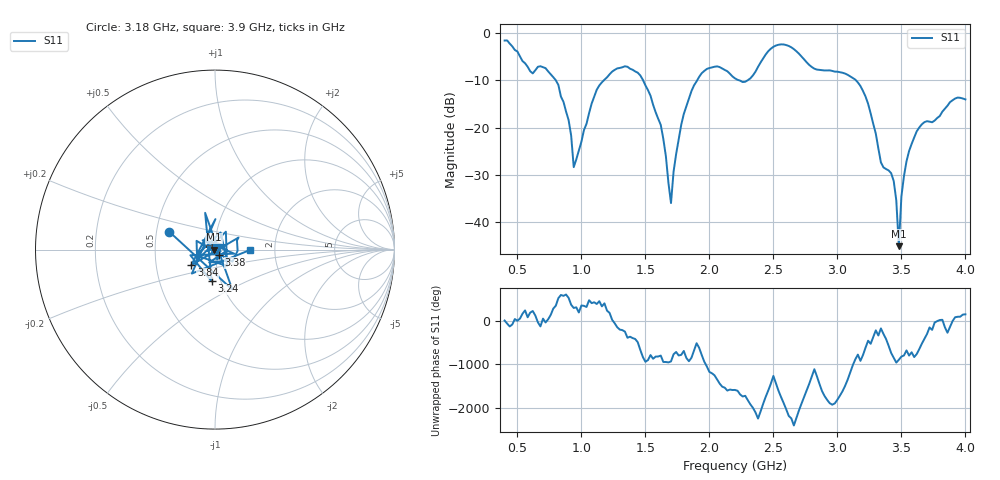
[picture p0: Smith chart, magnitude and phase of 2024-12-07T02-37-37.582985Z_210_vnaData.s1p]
!Created with skrf (http://scikit-rf.org).
# Hz S RI R 50.0
!freq ReS11 ImS11
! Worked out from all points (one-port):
!   181 points, 400 MHz to 4 GHz, reference 50 ohm
!   lowest |S11| = -45.0 dB at 3.48 GHz (marker M1), VSWR 1.01, Z = 49.4 - j0.0286 ohm
!   |S11| at or under -10 dB: 799.1 MHz to 1.177 GHz (378 MHz wide, 38.3 % of centre); 1.481 GHz to 1.905 GHz (424.1 MHz wide, 25 % of centre); 3.144 GHz to end of sweep (the widest 3 of 4)
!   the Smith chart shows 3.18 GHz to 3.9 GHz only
!   S11 on the Smith chart (normalised r, x): 3.18 GHz: 0.58, +0.13; 3.24 GHz: 0.91, -0.33; 3.38 GHz: 1.04, -0.06; 3.84 GHz: 0.76, -0.13; 3.9 GHz: 1.48, -0.01
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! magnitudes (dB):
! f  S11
! 400 MHz  -1.6
! 620 MHz  -8.6
! 720 MHz  -7.5
! 860 MHz  -14.6
! 920 MHz  -21.7
! 940 MHz  -28.4
! 1.12 GHz  -12.0
! 1.3 GHz  -7.4
! 1.54 GHz  -13.3
! 1.62 GHz  -19.4
! 1.7 GHz  -35.9
! 1.76 GHz  -22.5
! 1.94 GHz  -8.5
! 2.2 GHz  -9.6
! 2.52 GHz  -2.7
! 2.66 GHz  -3.5
! 3.1 GHz  -9.2
! 3.18 GHz  -11.2
! 3.24 GHz  -15.0
! 3.38 GHz  -28.7
! 3.44 GHz  -31.3
! 3.46 GHz  -35.3
! 3.48 GHz  -45.0
! 3.5 GHz  -34.6
! 3.56 GHz  -25.0
! 3.84 GHz  -16.0
! 3.9 GHz  -14.2
! 4 GHz  -14.1
